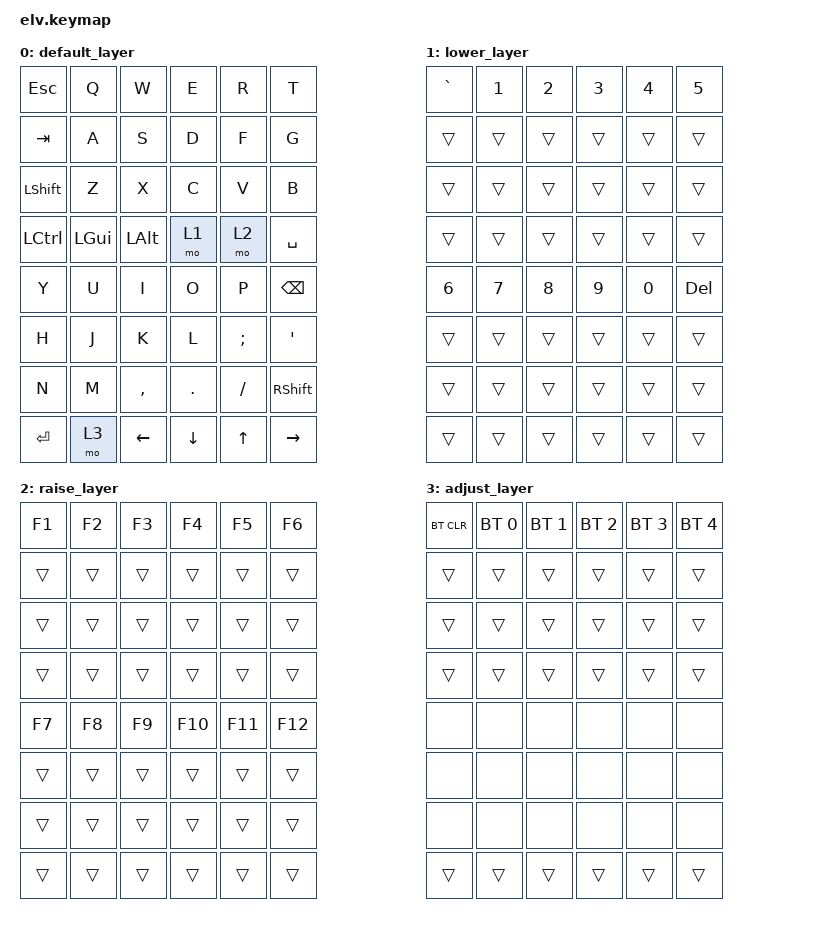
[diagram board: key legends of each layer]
#include <behaviors.dtsi>
#include <dt-bindings/zmk/keys.h>
#include <dt-bindings/zmk/bt.h>

/ {
    keymap {
        compatible = "zmk,keymap";

        default_layer {
            bindings = <
                // Left side
                &kp ESC    &kp Q    &kp W    &kp E     &kp R     &kp T
                &kp TAB    &kp A    &kp S    &kp D     &kp F     &kp G
                &kp LSHFT  &kp Z    &kp X    &kp C     &kp V     &kp B
                &kp LCTRL  &kp LGUI &kp LALT &mo 1     &mo 2     &kp SPACE
                // Right side
                &kp Y      &kp U    &kp I    &kp O     &kp P     &kp BSPC
                &kp H      &kp J    &kp K    &kp L     &kp SEMI  &kp SQT
                &kp N      &kp M    &kp COMMA &kp DOT   &kp FSLH  &kp RSHFT
                &kp RET    &mo 3    &kp LEFT &kp DOWN  &kp UP    &kp RIGHT
            >;
        };

        lower_layer {
            bindings = <
                // Left side
                &kp GRAVE  &kp N1   &kp N2   &kp N3    &kp N4    &kp N5
                &trans    &trans   &trans   &trans    &trans    &trans
                &trans    &trans   &trans   &trans    &trans    &trans
                &trans    &trans   &trans   &trans    &trans    &trans
                // Right side
                &kp N6    &kp N7   &kp N8   &kp N9    &kp N0    &kp DEL
                &trans    &trans   &trans   &trans    &trans    &trans
                &trans    &trans   &trans   &trans    &trans    &trans
                &trans    &trans   &trans   &trans    &trans    &trans
            >;
        };

        raise_layer {
            bindings = <
                // Left side
                &kp F1    &kp F2   &kp F3   &kp F4    &kp F5    &kp F6
                &trans    &trans   &trans   &trans    &trans    &trans
                &trans    &trans   &trans   &trans    &trans    &trans
                &trans    &trans   &trans   &trans    &trans    &trans
                // Right side
                &kp F7    &kp F8   &kp F9   &kp F10   &kp F11   &kp F12
                &trans    &trans   &trans   &trans    &trans    &trans
                &trans    &trans   &trans   &trans    &trans    &trans
                &trans    &trans   &trans   &trans    &trans    &trans
            >;
        };

        adjust_layer {
            bindings = <
                // Left side
                &bt BT_CLR &bt BT_SEL 0 &bt BT_SEL 1 &bt BT_SEL 2 &bt BT_SEL 3 &bt BT_SEL 4
                &trans     &trans       &trans       &trans       &trans       &trans
                &trans     &trans       &trans       &trans       &trans       &trans
                &trans     &trans       &trans       &trans       &trans       &trans
                // Right side
                &none      &none        &none        &none        &none        &none
                &none      &none        &none        &none        &none        &none
                &none      &none        &none        &none        &none        &none
                &trans     &trans       &trans       &trans       &trans       &trans
            >;
        };
    };
};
